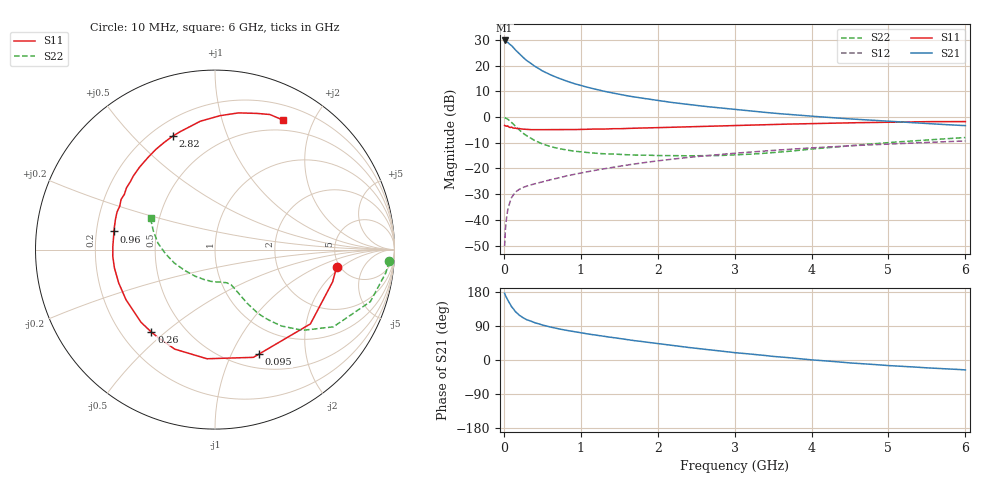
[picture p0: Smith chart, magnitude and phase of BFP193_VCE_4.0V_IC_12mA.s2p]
! Infineon Technologies  Discrete & RF Semiconductors
! BFP193
! VCE = 4.0 V,  IC =  12 mA
! Common Emitter S-Parameters:  Jan 2016
# GHz  S  MA  R  50
!  f  S11  S21  S12  S22
! GHz  MAG  ANG  MAG  ANG  MAG  ANG  MAG  ANG
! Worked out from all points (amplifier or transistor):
!   210 points, 10 MHz to 6 GHz, reference 50 ohm
!   highest |S21| = 29.7 dB at 10 MHz (marker M1)
!   |S21| within 3 dB of that: start of sweep to 129.8 MHz
!   unconditionally stable (mu >= 1): 948.8 MHz to 3.686 GHz
!   at 185 MHz: K = 0.36, MSG = 26.7 dB, |S12| = -28.4 dB
!   at 1.52 GHz: K = 1.09, MAG = 12.1 dB, |S12| = -19.0 dB
!   at 6 GHz: K = 0.91, MSG = 3.0 dB, |S12| = -9.3 dB
!   S11 on the Smith chart (normalised r, x): 10 MHz: 4.68, -1.72; 95 MHz: 0.66, -1.28; 260 MHz: 0.32, -0.45; 960 MHz: 0.27, +0.08; 2.82 GHz: 0.28, +0.66; 6 GHz: 0.37, +1.59
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0.01  0.6844 -8.2  30.69 176.0  0.0031 85.8  0.9722 -3.9
0.02  0.6796 -15.3  29.69 170.4  0.0064 82.8  0.9607 -7.7
0.05  0.6738 -37.9  28.25 158.0  0.0154 73.4  0.9129 -18.5
0.095  0.6314 -67.1  24.69 142.7  0.026 61.9  0.7978 -31.4
0.1  0.6373 -70.4  24.42 140.7  0.0272 61.2  0.7879 -33.1
0.15  0.6098 -94.2  20.13 127.6  0.0347 52.9  0.6631 -42.7
0.2  0.5982 -112.0  17.04 118.3  0.0393 48.6  0.5637 -49.0
0.24  0.5833 -122.9  14.89 112.9  0.0422 46.2  0.499 -52.3
0.26  0.5806 -127.6  13.97 110.4  0.0434 45.6  0.4723 -53.8
0.3  0.5778 -135.5  12.42 106.1  0.0456 45.0  0.4294 -56.0
0.4  0.569 -150.6  9.724 98.5  0.0503 44.7  0.3494 -59.0
0.5  0.5679 -160.9  7.893 92.3  0.0548 45.6  0.3003 -60.7
0.7  0.5708 -176.2  5.77 82.6  0.0648 48.1  0.2463 -63.0
0.96  0.5719 169.8  4.262 73.2  0.0794 50.0  0.2136 -65.9
1.02  0.5747 167.1  4.021 71.2  0.0826 50.3  0.2089 -66.9
1.4  0.5932 151.9  2.949 59.7  0.1044 50.9  0.1914 -74.0
2.02  0.6234 131.9  2.072 42.9  0.142 47.9  0.1782 -91.0
2.82  0.6743 110.5  1.497 23.6  0.188 41.2  0.1791 -119.5
3.1  0.6898 104.6  1.357 17.7  0.203 38.5  0.1866 -130.0
4.1  0.751 86.2  1.012 -1.1  0.2562 28.5  0.2454 -164.8
5.1  0.7946 72.7  0.811 -15.8  0.303 17.9  0.3269 171.2
6  0.8149 62.4  0.68 -26.1  0.3429 8.4  0.3994 154.1
